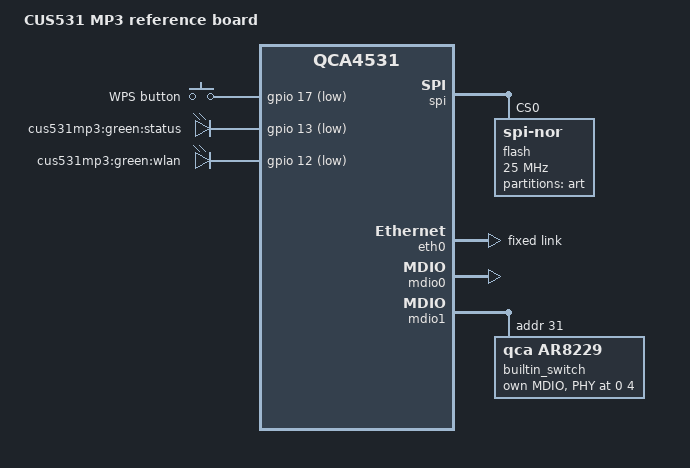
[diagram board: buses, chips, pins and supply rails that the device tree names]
// SPDX-License-Identifier: ISC
// Copyright (c) 2022, Qualcomm Innovation Center, Inc. All rights reserved.

/dts-v1/;

#include <dt-bindings/gpio/gpio.h>
#include <dt-bindings/input/input.h>
#include <dt-bindings/clock/ath79-clk.h>

#include "qca4531.dtsi"

/ {
	compatible = "qca,cus531mp3_16M", "qca,ath79";
	model = "CUS531 MP3 reference board";

	gpio-keys-polled {
		compatible = "gpio-keys-polled";
		#address-cells = <1>;
		#size-cells = <0>;

		poll-interval = <20>;

		button@0 {
			label = "WPS button";
			linux,code = <KEY_WPS_BUTTON>;
			gpios = <&gpio 17 GPIO_ACTIVE_LOW>;
			debounce-interval = <60>;
		};
	};

	leds {
		compatible = "gpio-leds";
		led@0 {
			label = "cus531mp3:green:status";
			gpios = <&gpio 13 GPIO_ACTIVE_LOW>;
		};

		led@1 {
			label = "cus531mp3:green:wlan";
			gpios = <&gpio 12 GPIO_ACTIVE_LOW>;
		};

	};
};

&spi {
	status = "okay";
	spi-bus-num = /bits/ 16 <0>;
	spi-chipselect = /bits/ 16 <3>;

	flash@0 {
		#address-cells = <1>;
		#size-cells = <1>;
		compatible = "jedec,spi-nor";
		reg = <0>;
		spi-max-frequency = <25000000>;
		cs-gpios = <&gpio 0 GPIO_ACTIVE_LOW>;

		partitions {
			compatible = "fixed-partitions";
			#address-cells = <1>;
			#size-cells = <1>;
			art: partition@70000 {
				label = "art";
				reg = <0x70000 0x010000>;
				read-only;
			};
		};
	};
};

&eth0 {
	status = "okay";
	compatible = "qca,qca9530-eth", "syscon";
	pll-data = <0x00001616 0x00000101 0x16000000>;
	pll-reg = <0x4 0x2c 17>;
	pll-handle = <&pll>;

	reset-names = "mac";
	resets = <&rst 9>;

	mtd-mac-address = <&art 0x0>;

	fixed-link {
		speed = <100>;
		full-duplex;
	};
};

&mdio0 {
	status = "okay";
};

&mdio1 {
	status = "okay";
	resets = <&rst 23>;
	reset-names = "mdio";
	builtin-switch;

	builtin_switch: switch0@1f {
		compatible = "qca,ar8229";

		reg = <0x1f>;
		resets = <&rst 8>;
		reset-names = "switch";
		phy-mode = "gmii";
		qca,phy4-mii-enable;
		qca,mib-poll-interval = <500>;

		mdio-bus {
			#address-cells = <1>;
			#size-cells = <0>;

			swphy0: ethernet-phy@0 {
				reg = <0>;
				phy-mode = "mii";
			};

			swphy4: ethernet-phy@4 {
				reg = <4>;
				phy-mode = "mii";
			};
		};
	};
};

&eth1 {
	status = "okay";

	compatible = "qca,qca9530-eth", "syscon", "simple-mfd";
	resets = <&rst 13>;
	reset-names = "mac";

	phy-mode = "gmii";

	phy-handle = <&swphy4>;
	mtd-mac-address = <&art 0x6>;
	fixed-link {
		speed = <1000>;
		full-duplex;
	};
};
